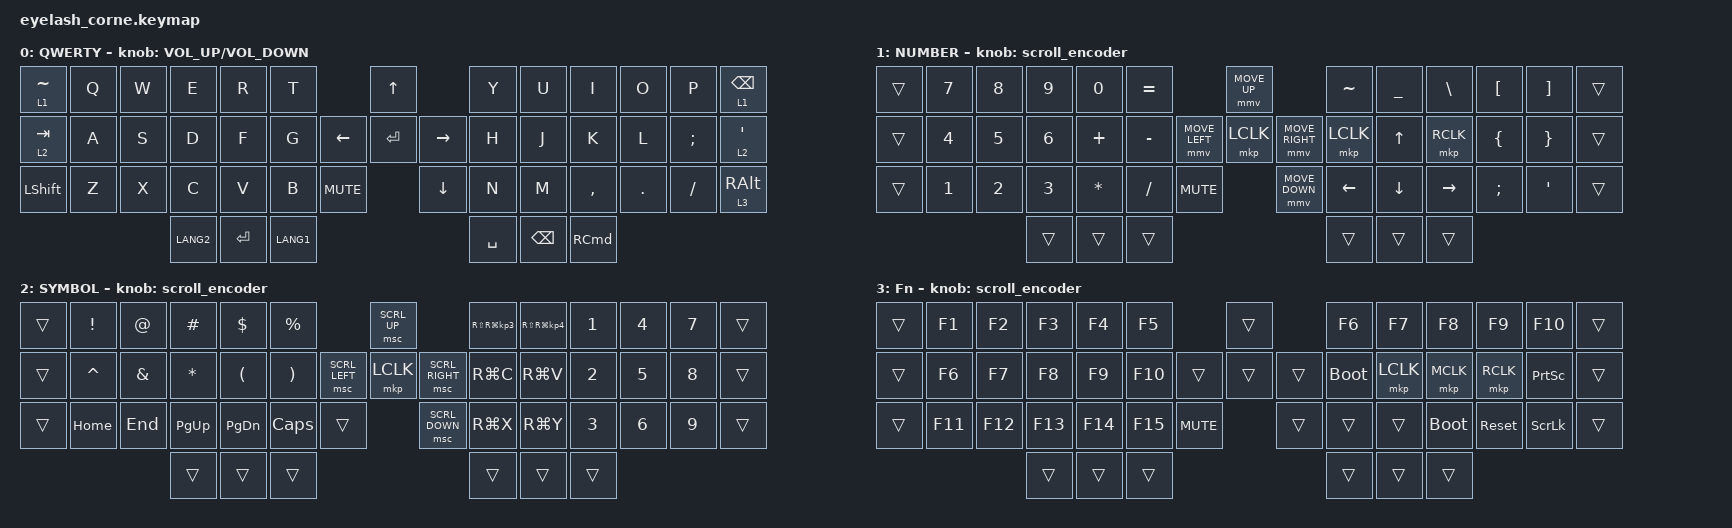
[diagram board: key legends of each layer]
#include <dt-bindings/zmk/mouse.h>
#include <input/processors.dtsi>
#include <behaviors.dtsi>
#include <dt-bindings/zmk/keys.h>
#include <dt-bindings/zmk/pointing.h>
#include <dt-bindings/zmk/pointing.h>
#include <dt-bindings/zmk/pointing.h>
#include <dt-bindings/zmk/rgb.h>

/*

   &mmv_input_listener {
       input-processors = <&zip_xy_scaler 2 1>;
   };

   &msc_input_listener {
       input-processors = <&zip_xy_scaler 2 1>;
   };

 */

#define ZMK_MOUSE_DEFAULT_MOVE_VAL 1200  // 600
#define ZMK_MOUSE_DEFAULT_SCRL_VAL 20    // 10

/ {
    behaviors {
        td0: td0 {
            compatible = "zmk,behavior-tap-dance";
            display-name = "Shift/Caps Lock Tap Dance";
            #binding-cells = <0>;
            bindings = <&kp LEFT_SHIFT>, <&kp CAPS>;
        };
    };

    rgb_encoder: rgb_encoder {
        compatible = "zmk,behavior-sensor-rotate";
        #sensor-binding-cells = <0>;
        bindings = <&rgb_ug RGB_BRI>, <&rgb_ug RGB_BRD>;
    };

    scroll_encoder: scroll_encoder {
        compatible = "zmk,behavior-sensor-rotate";
        #sensor-binding-cells = <0>;
        bindings = <&msc SCRL_DOWN>, <&msc SCRL_UP>;

        tap-ms = <30>;
    };

    keymap {
        compatible = "zmk,keymap";

        default_layer {
            display-name = "QWERTY";
            bindings = <
&lt 1 TILDE     &kp Q  &kp W  &kp E      &kp R      &kp T                              &kp UP                &kp Y      &kp U          &kp I              &kp O    &kp P     &lt 1 BACKSPACE
&lt 2 TAB       &kp A  &kp S  &kp D      &kp F      &kp G                    &kp LEFT  &kp ENTER  &kp RIGHT  &kp H      &kp J          &kp K              &kp L    &kp SEMI  &lt 2 SQT
&kp LEFT_SHIFT  &kp Z  &kp X  &kp C      &kp V      &kp B      &kp C_MUTE              &kp DOWN              &kp N      &kp M          &kp COMMA          &kp DOT  &kp FSLH  &lt 3 RIGHT_ALT
                              &kp LANG2  &kp ENTER  &kp LANG1                                                &kp SPACE  &kp BACKSPACE  &kp RIGHT_COMMAND
            >;

            sensor-bindings = <&inc_dec_kp C_VOLUME_UP C_VOLUME_DOWN>;
        };

        lower_layer {
            display-name = "NUMBER";
            bindings = <
&trans  &kp N7        &kp N8        &kp N9        &kp N0        &kp EQUAL                                &mmv MOVE_UP                     &kp TILDE       &kp UNDERSCORE  &kp BACKSLASH    &kp LEFT_BRACKET  &kp RIGHT_BRACKET  &trans
&trans  &kp NUMBER_4  &kp N5        &kp NUMBER_6  &kp PLUS      &kp MINUS                &mmv MOVE_LEFT  &mkp LCLK       &mmv MOVE_RIGHT  &mkp LCLK       &kp UP_ARROW    &mkp RCLK        &kp LEFT_BRACE    &kp RIGHT_BRACE    &trans
&trans  &kp NUMBER_1  &kp NUMBER_2  &kp NUMBER_3  &kp ASTERISK  &kp SLASH  &kp C_MUTE                    &mmv MOVE_DOWN                   &kp LEFT_ARROW  &kp DOWN_ARROW  &kp RIGHT_ARROW  &kp SEMICOLON     &kp SQT            &trans
                                    &trans        &trans        &trans                                                                    &trans          &trans          &trans
            >;

            sensor-bindings = <&scroll_encoder>;
        };

        raise_layer {
            display-name = "SYMBOL";
            bindings = <
&trans  &kp EXCL   &kp AT         &kp HASH      &kp DLLR              &kp PRCNT                                        &msc SCRL_UP                     &kp RS(RG(KP_NUMBER_3))  &kp RS(RG(KP_NUMBER_4))  &kp NUMBER_1  &kp NUMBER_4  &kp N7  &trans
&trans  &kp CARET  &kp AMPERSAND  &kp ASTERISK  &kp LEFT_PARENTHESIS  &kp RIGHT_PARENTHESIS            &msc SCRL_LEFT  &mkp LCLK       &msc SCRL_RIGHT  &kp RG(C)                &kp RG(V)                &kp NUMBER_2  &kp N5        &kp N8  &trans
&trans  &kp HOME   &kp END        &kp PAGE_UP   &kp PAGE_DOWN         &kp CAPSLOCK           &trans                    &msc SCRL_DOWN                   &kp RG(X)                &kp RG(Y)                &kp NUMBER_3  &kp NUMBER_6  &kp N9  &trans
                                  &trans        &trans                &trans                                                                            &trans                   &trans                   &trans
            >;

            sensor-bindings = <&scroll_encoder>;
        };

        layer_3 {
            display-name = "Fn";
            bindings = <
&trans  &kp F1   &kp F2   &kp F3   &kp F4   &kp F5                         &trans          &kp F6       &kp F7     &kp F8       &kp F9      &kp F10          &trans
&trans  &kp F6   &kp F7   &kp F8   &kp F9   &kp F10                &trans  &trans  &trans  &bootloader  &mkp LCLK  &mkp MCLK    &mkp RCLK   &kp PRINTSCREEN  &trans
&trans  &kp F11  &kp F12  &kp F13  &kp F14  &kp F15  &kp C_MUTE            &trans          &trans       &trans     &bootloader  &sys_reset  &kp SCROLLLOCK   &trans
                          &trans   &trans   &trans                                         &trans       &trans     &trans
            >;

            sensor-bindings = <&scroll_encoder>;
        };
    };
};
